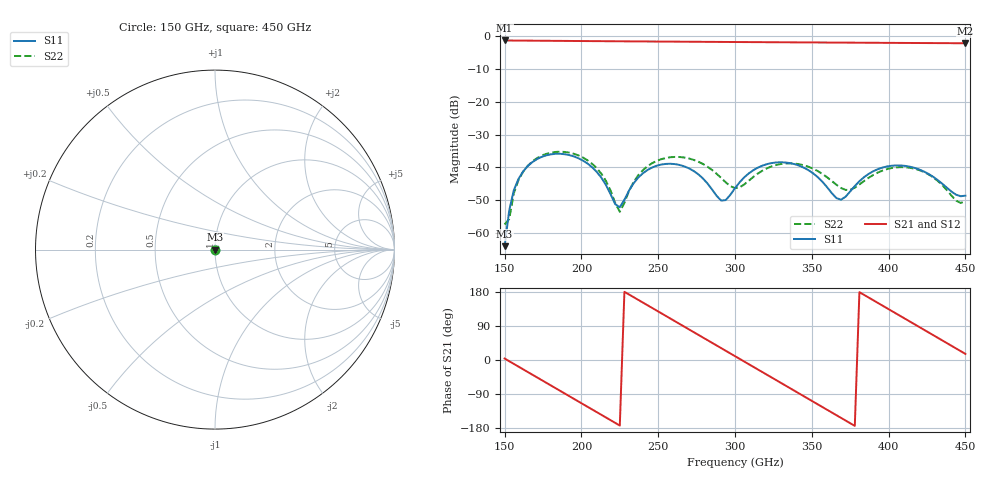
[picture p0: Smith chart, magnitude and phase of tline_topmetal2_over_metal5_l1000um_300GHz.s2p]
#  GHZ S DB R 50
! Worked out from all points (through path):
!   101 points, 150 GHz to 450 GHz, reference 50 ohm
!   highest |S21| = -1.22 dB at 150 GHz (marker M1); lowest = -2.1 dB at 450 GHz (marker M2)
!   group delay of S21, straight-line fit = 6.55 ps
!   lowest |S11| = -64.1 dB at 150 GHz (marker M3), VSWR 1.00, Z = 49.9 + j0.03 ohm
!   |S11| at or under -10 dB: start of sweep to end of sweep
!   |S22| runs from -57.5 to -35.3 dB; largest |S21 - S12| = 9.7e-14
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150  -64.14 151.1  -1.22 3.9  -1.22 3.9  -57.50 178.4
153  -53.20 40.0  -1.23 -3.2  -1.23 -3.2  -55.83 49.0
156  -47.02 25.4  -1.25 -10.3  -1.25 -10.3  -47.96 26.0
165  -39.68 -0.4  -1.28 -31.5  -1.28 -31.5  -39.60 -2.2
183  -35.90 -46.0  -1.34 -73.9  -1.34 -73.9  -35.33 -48.4
201  -37.96 -93.5  -1.40 -116.4  -1.40 -116.4  -37.03 -95.6
213  -43.20 -132.7  -1.44 -144.7  -1.44 -144.7  -42.00 -132.4
225  -52.24 117.5  -1.48 -173.0  -1.48 -173.0  -53.61 121.7
237  -43.18 27.4  -1.52 158.7  -1.52 158.7  -42.45 17.8
252  -39.18 -20.1  -1.56 123.3  -1.56 123.3  -37.53 -29.1
273  -41.12 -83.2  -1.62 73.8  -1.62 73.8  -37.73 -91.1
291  -50.20 171.1  -1.67 31.3  -1.67 31.3  -43.28 -162.5
300  -46.41 85.6  -1.70 10.1  -1.70 10.1  -46.39 131.5
315  -40.09 24.3  -1.74 -25.3  -1.74 -25.3  -41.89 32.5
330  -38.48 -20.8  -1.78 -60.6  -1.78 -60.6  -39.00 -22.8
351  -41.91 -87.0  -1.83 -110.2  -1.83 -110.2  -40.47 -93.3
369  -49.92 154.3  -1.88 -152.7  -1.88 -152.7  -46.35 175.5
384  -43.05 54.6  -1.92 171.9  -1.92 171.9  -44.22 67.9
402  -39.54 -5.9  -1.96 129.5  -1.96 129.5  -40.24 -4.3
426  -42.04 -84.0  -2.02 72.8  -2.02 72.8  -42.19 -84.5
444  -48.42 -179.1  -2.06 30.3  -2.06 30.3  -50.24 177.6
450  -48.69 133.2  -2.08 16.1  -2.08 16.1  -50.33 116.6
